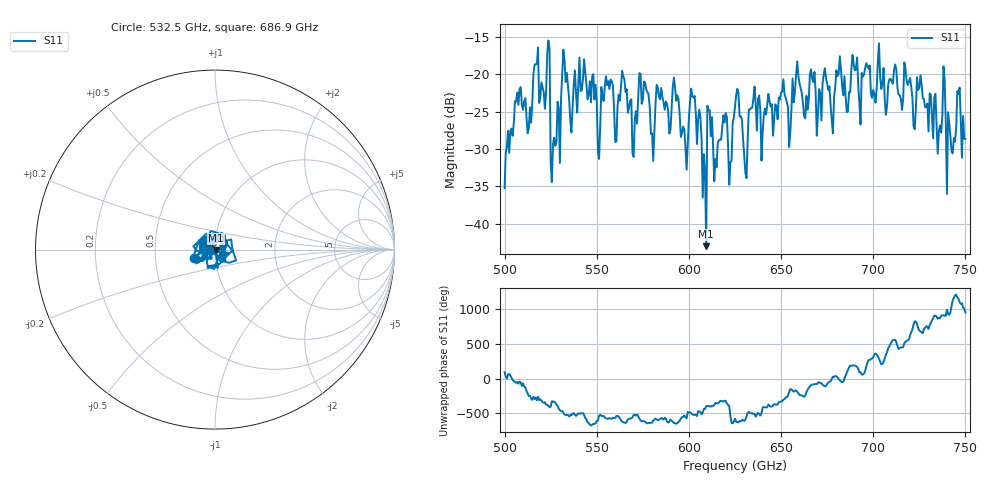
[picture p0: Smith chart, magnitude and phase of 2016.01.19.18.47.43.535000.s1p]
!Created with skrf (http://scikit-rf.org).
# GHz S RI R 50.0
!freq ReS11 ImS11
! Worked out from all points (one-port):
!   401 points, 500 GHz to 750 GHz, reference 50 ohm
!   lowest |S11| = -43.0 dB at 609.4 GHz (marker M1), VSWR 1.01, Z = 50.6 - j0.432 ohm
!   |S11| at or under -10 dB: start of sweep to end of sweep
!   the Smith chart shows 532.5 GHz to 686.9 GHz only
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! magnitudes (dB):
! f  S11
! 500 GHz  -35.2
! 507.5 GHz  -24.1
! 513.8 GHz  -24.4
! 516.9 GHz  -18.6
! 523.1 GHz  -17.2
! 526.2 GHz  -29.4
! 531.2 GHz  -19.9
! 548.8 GHz  -23.4
! 551.2 GHz  -31.3
! 562.5 GHz  -23.5
! 570.6 GHz  -26.1
! 574.4 GHz  -24.0
! 580 GHz  -27.9
! 583.8 GHz  -23.0
! 593.8 GHz  -22.8
! 598.1 GHz  -29.8
! 601.9 GHz  -22.9
! 608.1 GHz  -30.7
! 609.4 GHz  -43.0
! 611.2 GHz  -24.8
! 622.5 GHz  -31.8
! 625 GHz  -24.4
! 630.6 GHz  -33.2
! 634.4 GHz  -24.5
! 656.2 GHz  -20.6
! 687.5 GHz  -22.4
! 718.8 GHz  -21.4
! 750 GHz  -28.7
